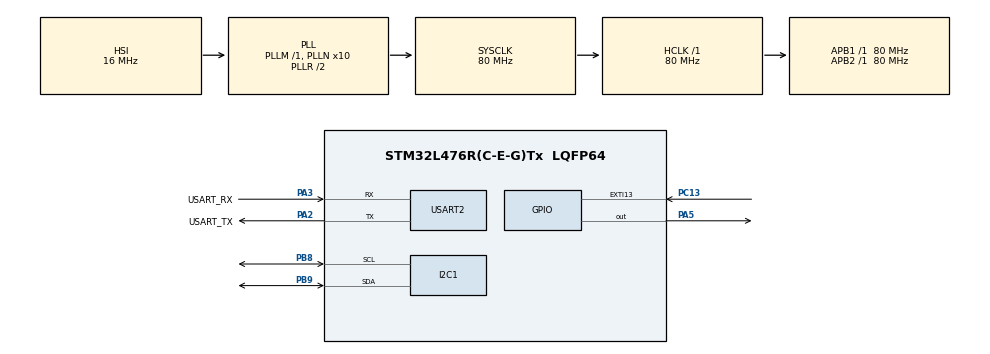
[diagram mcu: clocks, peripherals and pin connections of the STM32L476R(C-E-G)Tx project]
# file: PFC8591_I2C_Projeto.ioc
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I2C1.Timing=0x10D19CE4
Mcu.Family=STM32L4
Mcu.Name=STM32L476R(C-E-G)Tx
Mcu.Package=LQFP64
NUCLEO-L476RG.BUTTON=1
NUCLEO-L476RG.LD2=true
NVIC.EXTI15_10_IRQn=true\:0\:0\:false\:false\:true\:false\:true\:true
NVIC.I2C1_ER_IRQn=true\:0\:0\:false\:false\:true\:true\:true\:true
NVIC.I2C1_EV_IRQn=true\:0\:0\:false\:false\:true\:true\:true\:true
NVIC.PriorityGroup=NVIC_PRIORITYGROUP_4
NVIC.USART2_IRQn=true\:0\:0\:false\:false\:true\:true\:true\:true
PA13\ (JTMS-SWDIO).GPIO_Label=TMS
PA13\ (JTMS-SWDIO).Mode=Serial_Wire
PA13\ (JTMS-SWDIO).Signal=SYS_JTMS-SWDIO
PA14\ (JTCK-SWCLK).GPIO_Label=TCK
PA14\ (JTCK-SWCLK).Mode=Serial_Wire
PA14\ (JTCK-SWCLK).Signal=SYS_JTCK-SWCLK
PA2.GPIO_Label=USART_TX
PA2.GPIO_Mode=GPIO_MODE_AF_PP
PA2.GPIO_PuPd=GPIO_NOPULL
PA2.GPIO_Speed=GPIO_SPEED_FREQ_VERY_HIGH
PA2.Mode=Asynchronous
PA2.Signal=USART2_TX
PA3.GPIO_Label=USART_RX
PA3.GPIO_Mode=GPIO_MODE_AF_PP
PA3.GPIO_PuPd=GPIO_NOPULL
PA3.GPIO_Speed=GPIO_SPEED_FREQ_VERY_HIGH
PA3.Mode=Asynchronous
PA3.Signal=USART2_RX
PA5.Signal=GPIO_Output
PB3\ (JTDO-TRACESWO).GPIO_Label=SWO
PB3\ (JTDO-TRACESWO).Signal=SYS_JTDO-SWO
PB8.Mode=I2C
PB8.Signal=I2C1_SCL
PB9.Mode=I2C
PB9.Signal=I2C1_SDA
PC13.Signal=GPXTI13
PC14-OSC32_IN\ (PC14).Signal=RCC_OSC32_IN
PC15-OSC32_OUT\ (PC15).Signal=RCC_OSC32_OUT
PH0-OSC_IN\ (PH0).Signal=RCC_OSC_IN
PH1-OSC_OUT\ (PH1).Signal=RCC_OSC_OUT
ProjectManager.HeapSize=0x200
ProjectManager.StackSize=0x400
ProjectManager.TargetToolchain=STM32CubeIDE
RCC.ADCFreq_Value=64000000
RCC.AHBFreq_Value=80000000
RCC.APB1Freq_Value=80000000
RCC.APB1TimFreq_Value=80000000
RCC.APB2Freq_Value=80000000
RCC.APB2TimFreq_Value=80000000
RCC.CortexFreq_Value=80000000
RCC.HCLKFreq_Value=80000000
RCC.HSE_VALUE=8000000
RCC.HSI_VALUE=16000000
RCC.LSE_VALUE=32768
RCC.MSI_VALUE=4000000
RCC.PLLN=10
RCC.PLLSourceVirtual=RCC_PLLSOURCE_HSI
RCC.PREFETCH_ENABLE=1
RCC.SYSCLKFreq_VALUE=80000000
RCC.SYSCLKSource=RCC_SYSCLKSOURCE_PLLCLK
RCC.USBFreq_Value=64000000
RCC.VCOOutputFreq_Value=160000000
USART2.VirtualMode-Asynchronous=VM_ASYNC
VP_NUCLEO-L476RG_VS_BSP_COMMON.Mode=COMMON
board=NUCLEO-L476RG

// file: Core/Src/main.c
/* USER CODE BEGIN Header */
/**
  * @file           : main.c
  * @brief          : PCF8591 - Comunicacao I2C e USART2
  */
/* USER CODE END Header */

#include "main.h"

/* USER CODE BEGIN Includes */
#include <stdio.h>
#include <string.h>
#include <stdint.h>
/* USER CODE END Includes */

/* Private variables */
I2C_HandleTypeDef hi2c1;
UART_HandleTypeDef huart2;

/* USER CODE BEGIN PV */

/* Valores dos sensores */
volatile uint8_t LDR = 0;
volatile uint8_t Temp = 0;
volatile uint8_t Pot = 0;

/* Estados da maquina I2C */
typedef enum {
    I2C_IDLE,
    I2C_WAIT_TX,
    I2C_WAIT_RX,
    I2C_DONE,
    I2C_ERROR
} I2C_State;

typedef enum {
    I2C_OP_ADC,
    I2C_OP_DAC
} I2C_Operation;

volatile I2C_State i2c_state = I2C_IDLE;
volatile I2C_Operation i2c_operation = I2C_OP_ADC;

uint32_t i2c_error_code = 0;
uint32_t i2c_start_status = 0;

uint8_t i2c_control = 0;
uint8_t adc_buffer[2];
uint8_t dac_buffer[2];

uint8_t current_channel = 0;
uint8_t dac_value = 128;

/* Recepcao de comandos UART */
#define COMMAND_BUFFER_SIZE 50

uint8_t uart_rx_char;
char command_buffer[COMMAND_BUFFER_SIZE];

volatile uint8_t command_index = 0;
volatile uint8_t command_ready = 0;

/* USER CODE END PV */

/* Private function prototypes */
void SystemClock_Config(void);
static void MX_GPIO_Init(void);
static void MX_I2C1_Init(void);
static void MX_USART2_UART_Init(void);

/* USER CODE BEGIN PFP */
void UART_Start_Receive(void);
void UART_Send(char *message);
void PCF8591_StartRead(uint8_t channel);
void PCF8591_StartWriteDAC(uint8_t value);
void ProcessCommand(char *command);
/* USER CODE END PFP */

/* Private user code */

/* USER CODE BEGIN 0 */

/* Envia uma mensagem pelo terminal */
void UART_Send(char *message)
{
    HAL_UART_Transmit(
        &huart2,
        (uint8_t *)message,
        strlen(message),
        1000
    );
}

/* Inicia a recepcao UART por interrupcao */
void UART_Start_Receive(void)
{
    HAL_UART_Receive_IT(&huart2, &uart_rx_char, 1);
}

/* Inicia uma leitura ADC */
void PCF8591_StartRead(uint8_t channel)
{
    if ((channel != 0 && channel != 1 && channel != 3) ||
        i2c_state != I2C_IDLE)
    {
        return;
    }

    current_channel = channel;
    i2c_control = channel;
    i2c_operation = I2C_OP_ADC;

    i2c_error_code = 0;
    i2c_start_status = 0;
    i2c_state = I2C_WAIT_TX;

    HAL_StatusTypeDef status = HAL_I2C_Master_Transmit_IT(
        &hi2c1,
        (0x48 << 1),
        &i2c_control,
        1
    );

    if (status != HAL_OK)
    {
        i2c_start_status = status;
        i2c_state = I2C_ERROR;
    }
}

/* Inicia uma escrita no DAC */
void PCF8591_StartWriteDAC(uint8_t value)
{
    if (i2c_state != I2C_IDLE)
    {
        return;
    }

    dac_value = value;

    dac_buffer[0] = 0x40;
    dac_buffer[1] = value;

    i2c_operation = I2C_OP_DAC;

    i2c_error_code = 0;
    i2c_start_status = 0;
    i2c_state = I2C_WAIT_TX;

    HAL_StatusTypeDef status = HAL_I2C_Master_Transmit_IT(
        &hi2c1,
        (0x48 << 1),
        dac_buffer,
        2
    );

    if (status != HAL_OK)
    {
        i2c_start_status = status;
        i2c_state = I2C_ERROR;
    }
}

/* Interpreta os comandos recebidos */
void ProcessCommand(char *command)
{
    if (strcmp(command, "Read_AIN0") == 0)
    {
        PCF8591_StartRead(0);
    }
    else if (strcmp(command, "Read_AIN1") == 0)
    {
        PCF8591_StartRead(1);
    }
    else if (strcmp(command, "Read_AIN3") == 0)
    {
        PCF8591_StartRead(3);
    }
    else if (strncmp(command, "Set_DAC_", 8) == 0)
    {
        uint16_t value = 0;
        uint8_t valid = 1;

        if (command[8] == '\0')
        {
            valid = 0;
        }

        for (uint8_t i = 8; command[i] != '\0' && valid; i++)
        {
            if (command[i] < '0' || command[i] > '9')
            {
                valid = 0;
                break;
            }

            uint8_t digit = command[i] - '0';

            if (value > (255 - digit) / 10)
            {
                valid = 0;
                break;
            }

            value = value * 10 + digit;
        }

        if (valid)
        {
            PCF8591_StartWriteDAC((uint8_t)value);
        }
        else
        {
            UART_Send("Valor DAC invalido! Use 0 a 255.\r\n");
        }
    }
    else
    {
        UART_Send("Comando invalido!\r\n");
    }
}

/* Callback de recepcao UART */
void HAL_UART_RxCpltCallback(UART_HandleTypeDef *huart)
{
    if (huart->Instance == USART2)
    {
        if (command_ready == 0)
        {
            if (uart_rx_char == '\r' || uart_rx_char == '\n')
            {
                if (command_index > 0)
                {
                    command_buffer[command_index] = '\0';
                    command_ready = 1;
                }
            }
            else if (command_index < COMMAND_BUFFER_SIZE - 1)
            {
                command_buffer[command_index++] = uart_rx_char;
            }
        }

        HAL_UART_Receive_IT(&huart2, &uart_rx_char, 1);
    }
}

/* Callback de transmissao I2C */
void HAL_I2C_MasterTxCpltCallback(I2C_HandleTypeDef *hi2c)
{
    if (hi2c->Instance == I2C1 && i2c_state == I2C_WAIT_TX)
    {
        if (i2c_operation == I2C_OP_ADC)
        {
            i2c_state = I2C_WAIT_RX;

            HAL_StatusTypeDef status = HAL_I2C_Master_Receive_IT(
                &hi2c1,
                (0x48 << 1),
                adc_buffer,
                2
            );

            if (status != HAL_OK)
            {
                i2c_start_status = status;
                i2c_state = I2C_ERROR;
            }
        }
        else if (i2c_operation == I2C_OP_DAC)
        {
            i2c_state = I2C_DONE;
        }
    }
}

/* Callback de recepcao I2C */
void HAL_I2C_MasterRxCpltCallback(I2C_HandleTypeDef *hi2c)
{
    if (hi2c->Instance == I2C1 && i2c_state == I2C_WAIT_RX)
    {
        i2c_state = I2C_DONE;
    }
}

/* Callback de erro I2C */
void HAL_I2C_ErrorCallback(I2C_HandleTypeDef *hi2c)
{
    if (hi2c->Instance == I2C1)
    {
        i2c_error_code = HAL_I2C_GetError(hi2c);
        i2c_state = I2C_ERROR;
    }
}

/* USER CODE END 0 */

int main(void)
{
    HAL_Init();

    SystemClock_Config();
    MX_GPIO_Init();
    MX_I2C1_Init();
    MX_USART2_UART_Init();

    /* USER CODE BEGIN 2 */
    UART_Start_Receive();
    /* USER CODE END 2 */

    /* Infinite loop */
    /* USER CODE BEGIN WHILE */
    while (1)
    {
        /* Operacao I2C concluida */
        if (i2c_state == I2C_DONE)
        {
            char mensagem[50];

            if (i2c_operation == I2C_OP_ADC)
            {
                uint8_t value = adc_buffer[1];

                switch (current_channel)
                {
                    case 0:
                        LDR = value;
                        snprintf(mensagem, sizeof(mensagem),
                                 "AIN0 (LDR): %u\r\n", (unsigned int)LDR);
                        break;

                    case 1:
                        Temp = value;
                        snprintf(mensagem, sizeof(mensagem),
                                 "AIN1 (Temp): %u\r\n", (unsigned int)Temp);
                        break;

                    case 3:
                        Pot = value;
                        snprintf(mensagem, sizeof(mensagem),
                                 "AIN3 (Pot): %u\r\n", (unsigned int)Pot);
                        break;
                }
            }
            else
            {
                snprintf(mensagem, sizeof(mensagem),
                         "Valor do DAC: %u\r\n", (unsigned int)dac_value);
            }

            UART_Send(mensagem);
            i2c_state = I2C_IDLE;
        }

        /* Erro na comunicacao I2C */
        if (i2c_state == I2C_ERROR)
        {
            char mensagem[60];

            snprintf(mensagem, sizeof(mensagem),
                     "Erro I2C: status=%lu, erro=0x%lX\r\n",
                     (unsigned long)i2c_start_status,
                     (unsigned long)i2c_error_code);

            UART_Send(mensagem);
            i2c_state = I2C_IDLE;
        }

        /* Processa um novo comando quando o I2C estiver livre */
        if (command_ready && i2c_state == I2C_IDLE)
        {
            char command[COMMAND_BUFFER_SIZE];

            __disable_irq();

            strcpy(command, command_buffer);
            command_ready = 0;
            command_index = 0;

            __enable_irq();

            ProcessCommand(command);
        }
    }
    /* USER CODE END WHILE */
}

void SystemClock_Config(void)
{
    RCC_OscInitTypeDef RCC_OscInitStruct = {0};
    RCC_ClkInitTypeDef RCC_ClkInitStruct = {0};

    HAL_PWREx_ControlVoltageScaling(PWR_REGULATOR_VOLTAGE_SCALE1);

    RCC_OscInitStruct.OscillatorType = RCC_OSCILLATORTYPE_HSI;
    RCC_OscInitStruct.HSIState = RCC_HSI_ON;
    RCC_OscInitStruct.HSICalibrationValue = RCC_HSICALIBRATION_DEFAULT;

    RCC_OscInitStruct.PLL.PLLState = RCC_PLL_ON;
    RCC_OscInitStruct.PLL.PLLSource = RCC_PLLSOURCE_HSI;
    RCC_OscInitStruct.PLL.PLLM = 1;
    RCC_OscInitStruct.PLL.PLLN = 10;
    RCC_OscInitStruct.PLL.PLLP = RCC_PLLP_DIV7;
    RCC_OscInitStruct.PLL.PLLQ = RCC_PLLQ_DIV2;
    RCC_OscInitStruct.PLL.PLLR = RCC_PLLR_DIV2;

    if (HAL_RCC_OscConfig(&RCC_OscInitStruct) != HAL_OK)
    {
        Error_Handler();
    }

    RCC_ClkInitStruct.ClockType =
        RCC_CLOCKTYPE_HCLK |
        RCC_CLOCKTYPE_SYSCLK |
        RCC_CLOCKTYPE_PCLK1 |
        RCC_CLOCKTYPE_PCLK2;

    RCC_ClkInitStruct.SYSCLKSource = RCC_SYSCLKSOURCE_PLLCLK;
    RCC_ClkInitStruct.AHBCLKDivider = RCC_SYSCLK_DIV1;
    RCC_ClkInitStruct.APB1CLKDivider = RCC_HCLK_DIV1;
    RCC_ClkInitStruct.APB2CLKDivider = RCC_HCLK_DIV1;

    if (HAL_RCC_ClockConfig(&RCC_ClkInitStruct, FLASH_LATENCY_4) != HAL_OK)
    {
        Error_Handler();
    }
}

static void MX_I2C1_Init(void)
{
    hi2c1.Instance = I2C1;
    hi2c1.Init.Timing = 0x10D19CE4;
    hi2c1.Init.OwnAddress1 = 0;
    hi2c1.Init.AddressingMode = I2C_ADDRESSINGMODE_7BIT;
    hi2c1.Init.DualAddressMode = I2C_DUALADDRESS_DISABLE;
    hi2c1.Init.OwnAddress2 = 0;
    hi2c1.Init.OwnAddress2Masks = I2C_OA2_NOMASK;
    hi2c1.Init.GeneralCallMode = I2C_GENERALCALL_DISABLE;
    hi2c1.Init.NoStretchMode = I2C_NOSTRETCH_DISABLE;

    if (HAL_I2C_Init(&hi2c1) != HAL_OK)
    {
        Error_Handler();
    }

    if (HAL_I2CEx_ConfigAnalogFilter(&hi2c1, I2C_ANALOGFILTER_ENABLE) != HAL_OK)
    {
        Error_Handler();
    }

    if (HAL_I2CEx_ConfigDigitalFilter(&hi2c1, 0) != HAL_OK)
    {
        Error_Handler();
    }
}

static void MX_USART2_UART_Init(void)
{
    huart2.Instance = USART2;
    huart2.Init.BaudRate = 115200;
    huart2.Init.WordLength = UART_WORDLENGTH_8B;
    huart2.Init.StopBits = UART_STOPBITS_1;
    huart2.Init.Parity = UART_PARITY_NONE;
    huart2.Init.Mode = UART_MODE_TX_RX;
    huart2.Init.HwFlowCtl = UART_HWCONTROL_NONE;
    huart2.Init.OverSampling = UART_OVERSAMPLING_16;
    huart2.Init.OneBitSampling = UART_ONE_BIT_SAMPLE_DISABLE;
    huart2.AdvancedInit.AdvFeatureInit = UART_ADVFEATURE_NO_INIT;

    if (HAL_UART_Init(&huart2) != HAL_OK)
    {
        Error_Handler();
    }
}

static void MX_GPIO_Init(void)
{
    __HAL_RCC_GPIOA_CLK_ENABLE();
    __HAL_RCC_GPIOB_CLK_ENABLE();
}

/**
  * @brief Error Handler
  */
void Error_Handler(void)
{
    __disable_irq();

    while (1)
    {
    }
}
